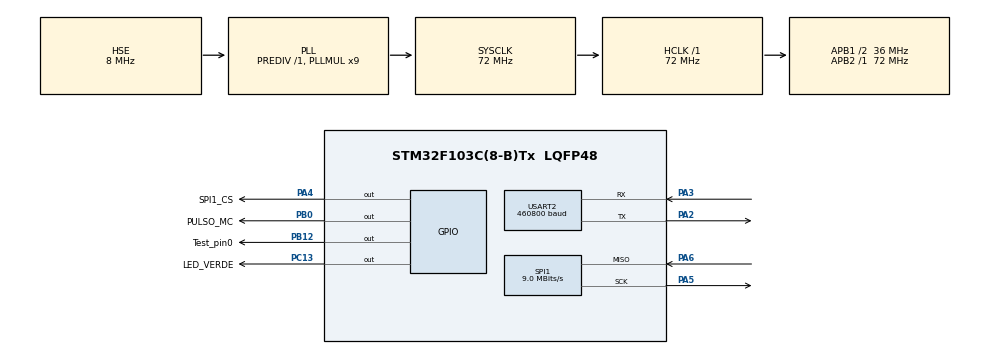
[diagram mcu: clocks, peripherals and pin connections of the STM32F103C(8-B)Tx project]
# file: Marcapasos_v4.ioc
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Dma.Request0=USART2_TX
Dma.USART2_TX.0.Direction=DMA_MEMORY_TO_PERIPH
Dma.USART2_TX.0.Instance=DMA1_Channel7
Dma.USART2_TX.0.MemDataAlignment=DMA_MDATAALIGN_BYTE
Dma.USART2_TX.0.MemInc=DMA_MINC_ENABLE
Dma.USART2_TX.0.Mode=DMA_NORMAL
Dma.USART2_TX.0.PeriphDataAlignment=DMA_PDATAALIGN_BYTE
Dma.USART2_TX.0.PeriphInc=DMA_PINC_DISABLE
Dma.USART2_TX.0.Priority=DMA_PRIORITY_HIGH
FREERTOS.Tasks01=LeerDAC,0,512,tarea1,Default,NULL,Dynamic,NULL,NULL
FREERTOS.configMAX_TASK_NAME_LEN=32
FREERTOS.configMINIMAL_STACK_SIZE=64
FREERTOS.configUSE_NEWLIB_REENTRANT=1
Mcu.Family=STM32F1
Mcu.Name=STM32F103C(8-B)Tx
Mcu.Package=LQFP48
NVIC.DMA1_Channel7_IRQn=true\:5\:0\:false\:false\:true\:true\:false\:true\:true
NVIC.PriorityGroup=NVIC_PRIORITYGROUP_4
NVIC.RCC_IRQn=true\:5\:0\:false\:false\:true\:true\:true\:false\:true
NVIC.SPI1_IRQn=true\:5\:0\:false\:false\:true\:true\:true\:true\:true
NVIC.TIM3_IRQn=true\:5\:0\:false\:false\:true\:true\:true\:true\:true
NVIC.TIM4_IRQn=true\:15\:0\:false\:false\:true\:false\:false\:true\:true
NVIC.TimeBase=TIM4_IRQn
NVIC.TimeBaseIP=TIM4
NVIC.USART2_IRQn=true\:5\:0\:false\:false\:true\:true\:true\:true\:true
PA13.Mode=Serial_Wire
PA13.Signal=SYS_JTMS-SWDIO
PA14.Mode=Serial_Wire
PA14.Signal=SYS_JTCK-SWCLK
PA2.Mode=Asynchronous
PA2.Signal=USART2_TX
PA3.Mode=Asynchronous
PA3.Signal=USART2_RX
PA4.GPIO_Label=SPI1_CS
PA4.GPIO_Speed=GPIO_SPEED_FREQ_HIGH
PA4.PinState=GPIO_PIN_SET
PA4.Signal=GPIO_Output
PA5.Mode=RX_Only_Simplex_Unidirect_Master
PA5.Signal=SPI1_SCK
PA6.Mode=RX_Only_Simplex_Unidirect_Master
PA6.Signal=SPI1_MISO
PB0.GPIO_Label=PULSO_MC
PB0.GPIO_PuPd=GPIO_PULLUP
PB0.GPIO_Speed=GPIO_SPEED_FREQ_HIGH
PB0.PinState=GPIO_PIN_SET
PB0.Signal=GPIO_Output
PB12.GPIO_Label=Test_pin0
PB12.Signal=GPIO_Output
PC13-TAMPER-RTC.GPIO_Label=LED_VERDE
PC13-TAMPER-RTC.Signal=GPIO_Output
PD0-OSC_IN.Mode=HSE-External-Oscillator
PD0-OSC_IN.Signal=RCC_OSC_IN
PD1-OSC_OUT.Mode=HSE-External-Oscillator
PD1-OSC_OUT.Signal=RCC_OSC_OUT
ProjectManager.HeapSize=0x200
ProjectManager.StackSize=0x400
ProjectManager.TargetToolchain=STM32CubeIDE
RCC.AHBFreq_Value=72000000
RCC.APB1CLKDivider=RCC_HCLK_DIV2
RCC.APB1Freq_Value=36000000
RCC.APB1TimFreq_Value=72000000
RCC.APB2Freq_Value=72000000
RCC.APB2TimFreq_Value=72000000
RCC.HCLKFreq_Value=72000000
RCC.PLLMUL=RCC_PLL_MUL9
RCC.PLLSourceVirtual=RCC_PLLSOURCE_HSE
RCC.SYSCLKFreq_VALUE=72000000
RCC.SYSCLKSource=RCC_SYSCLKSOURCE_PLLCLK
RCC.USBFreq_Value=48000000
RCC.USBPrescaler=RCC_USBCLKSOURCE_PLL_DIV1_5
SPI1.BaudRatePrescaler=SPI_BAUDRATEPRESCALER_8
SPI1.CLKPhase=SPI_PHASE_2EDGE
SPI1.CLKPolarity=SPI_POLARITY_LOW
SPI1.CalculateBaudRate=9.0 MBits/s
SPI1.DataSize=SPI_DATASIZE_16BIT
SPI1.Direction=SPI_DIRECTION_2LINES_RXONLY
SPI1.Mode=SPI_MODE_MASTER
SPI1.VirtualType=VM_MASTER
TIM3.AutoReloadPreload=TIM_AUTORELOAD_PRELOAD_DISABLE
TIM3.Period=125-1
TIM3.Prescaler=72-1
USART2.BaudRate=460800
USART2.Parity=PARITY_NONE
USART2.StopBits=STOPBITS_1
USART2.VirtualMode=VM_ASYNC
USART2.WordLength=WORDLENGTH_8B
VP_FREERTOS_VS_CMSIS_V1.Mode=CMSIS_V1
VP_SYS_VS_tim4.Mode=TIM4
VP_TIM3_VS_ClockSourceINT.Mode=Internal
board=custom

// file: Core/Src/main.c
/* USER CODE BEGIN Header */
/**
  ******************************************************************************
  * @file           : main.c
  * @brief          : Main program body
  ******************************************************************************
  * @attention
  *
  * Copyright (c) 2023 STMicroelectronics.
  * All rights reserved.
  *
  * This software is licensed under terms that can be found in the LICENSE file
  * in the root directory of this software component.
  * If no LICENSE file comes with this software, it is provided AS-IS.
  *
  ******************************************************************************
  */
/* USER CODE END Header */
#include "main.h"
#include "cmsis_os.h"
#include "dma.h"
#include "spi.h"
#include "tim.h"
#include "usart.h"
#include "gpio.h"

/* USER CODE BEGIN PV */
uint8_t flag_Muestreo 	= 0;
uint8_t flag_spi_ok		= 0;
/* USER CODE END PV */

void SystemClock_Config(void);
void MX_FREERTOS_Init(void);

int main(void)
{

  /* MCU Configuration--------------------------------------------------------*/

  /* Reset of all peripherals, Initializes the Flash interface and the Systick. */
  HAL_Init();

  /* Configure the system clock */
  SystemClock_Config();

  /* Initialize all configured peripherals */
  MX_GPIO_Init();
  MX_DMA_Init();
  MX_SPI1_Init();
  MX_TIM3_Init();
  MX_USART2_UART_Init();
  /* USER CODE BEGIN 2 */
  if (HAL_TIM_Base_Start_IT(&htim3) != HAL_OK)
      {
        Error_Handler();
      }
  /* USER CODE END 2 */

  /* Call init function for freertos objects (in freertos.c) */
  MX_FREERTOS_Init();

  /* Start scheduler */
  osKernelStart();

  /* We should never get here as control is now taken by the scheduler */
  /* Infinite loop */
  while (1)
  {

  }
}

void SystemClock_Config(void)
{
  RCC_OscInitTypeDef RCC_OscInitStruct = {0};
  RCC_ClkInitTypeDef RCC_ClkInitStruct = {0};

  /** Initializes the RCC Oscillators according to the specified parameters
  * in the RCC_OscInitTypeDef structure.
  */
  RCC_OscInitStruct.OscillatorType = RCC_OSCILLATORTYPE_HSE;
  RCC_OscInitStruct.HSEState = RCC_HSE_ON;
  RCC_OscInitStruct.HSEPredivValue = RCC_HSE_PREDIV_DIV1;
  RCC_OscInitStruct.HSIState = RCC_HSI_ON;
  RCC_OscInitStruct.PLL.PLLState = RCC_PLL_ON;
  RCC_OscInitStruct.PLL.PLLSource = RCC_PLLSOURCE_HSE;
  RCC_OscInitStruct.PLL.PLLMUL = RCC_PLL_MUL9;
  if (HAL_RCC_OscConfig(&RCC_OscInitStruct) != HAL_OK)
  {
    Error_Handler();
  }

  /** Initializes the CPU, AHB and APB buses clocks
  */
  RCC_ClkInitStruct.ClockType = RCC_CLOCKTYPE_HCLK|RCC_CLOCKTYPE_SYSCLK
                              |RCC_CLOCKTYPE_PCLK1|RCC_CLOCKTYPE_PCLK2;
  RCC_ClkInitStruct.SYSCLKSource = RCC_SYSCLKSOURCE_PLLCLK;
  RCC_ClkInitStruct.AHBCLKDivider = RCC_SYSCLK_DIV1;
  RCC_ClkInitStruct.APB1CLKDivider = RCC_HCLK_DIV2;
  RCC_ClkInitStruct.APB2CLKDivider = RCC_HCLK_DIV1;

  if (HAL_RCC_ClockConfig(&RCC_ClkInitStruct, FLASH_LATENCY_2) != HAL_OK)
  {
    Error_Handler();
  }
}

/* USER CODE BEGIN 4 */
void HAL_SPI_TxRxCpltCallback(SPI_HandleTypeDef *hspi)
{
  /* Prevent unused argument(s) compilation warning */
  flag_spi_ok = 1;
  HAL_GPIO_WritePin(SPI1_CS_GPIO_Port, SPI1_CS_Pin,GPIO_PIN_SET);
  /* NOTE : This function should not be modified, when the callback is needed,
            the HAL_SPI_TxRxCpltCallback should be implemented in the user file
   */
}
/* USER CODE END 4 */

void HAL_TIM_PeriodElapsedCallback(TIM_HandleTypeDef *htim)
{
  if (htim->Instance == TIM4) {
    HAL_IncTick();
  }
  /* USER CODE BEGIN Callback 1 */
	if (htim->Instance == TIM3)
	{
		flag_Muestreo = 1;
	}
  /* USER CODE END Callback 1 */
}

void Error_Handler(void)
{
  __disable_irq();
  while (1)
  {
  }
}

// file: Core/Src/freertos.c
/* USER CODE BEGIN Header */
/**
  ******************************************************************************
  * File Name          : freertos.c
  * Description        : Code for freertos applications
  ******************************************************************************
  * @attention
  *
  * Copyright (c) 2023 STMicroelectronics.
  * All rights reserved.
  *
  * This software is licensed under terms that can be found in the LICENSE file
  * in the root directory of this software component.
  * If no LICENSE file comes with this software, it is provided AS-IS.
  *
  ******************************************************************************
  */
/* USER CODE END Header */

#include "FreeRTOS.h"
#include "task.h"
#include "main.h"
#include "cmsis_os.h"

/* USER CODE BEGIN Includes */
#include <stdio.h>
#include <string.h>
#include <stdlib.h>
//#include "usbd_cdc_if.h"
//#include <arm_math.h>
#include <stdbool.h>
/* USER CODE END Includes */

/* USER CODE BEGIN Variables */
extern uint8_t flag_Muestreo;
extern SPI_HandleTypeDef hspi1;
extern UART_HandleTypeDef huart2;
int derv_norm_I=0;
int32_t aus_data=0;

#define M_PI 3.14159265358979323846
#define SAMPLE_RATE 441000
float cutoff = 4000.0;
float prevFiltered_II = 0.0;
int32_t filteredData_II=0;
//uint8_t dato_tx[10]={0};

uint8_t msgUSB[16]={0};
uint16_t msgUsb_cnt;

/* USER CODE END Variables */
osThreadId LeerDACHandle;

/* USER CODE BEGIN FunctionPrototypes */
int32_t DerivadaNormFuncion_I (int derivacion);
/* USER CODE END FunctionPrototypes */

void tarea1(void const * argument);

void MX_FREERTOS_Init(void); /* (MISRA C 2004 rule 8.1) */

/* GetIdleTaskMemory prototype (linked to static allocation support) */
void vApplicationGetIdleTaskMemory( StaticTask_t **ppxIdleTaskTCBBuffer, StackType_t **ppxIdleTaskStackBuffer, uint32_t *pulIdleTaskStackSize );

/* USER CODE BEGIN GET_IDLE_TASK_MEMORY */
static StaticTask_t xIdleTaskTCBBuffer;
static StackType_t xIdleStack[configMINIMAL_STACK_SIZE];

void vApplicationGetIdleTaskMemory( StaticTask_t **ppxIdleTaskTCBBuffer, StackType_t **ppxIdleTaskStackBuffer, uint32_t *pulIdleTaskStackSize )
{
  *ppxIdleTaskTCBBuffer = &xIdleTaskTCBBuffer;
  *ppxIdleTaskStackBuffer = &xIdleStack[0];
  *pulIdleTaskStackSize = configMINIMAL_STACK_SIZE;
  /* place for user code */
}
/* USER CODE END GET_IDLE_TASK_MEMORY */

void MX_FREERTOS_Init(void) {

  /* Create the thread(s) */
  /* definition and creation of LeerDAC */
  osThreadDef(LeerDAC, tarea1, osPriorityNormal, 0, 512);
  LeerDACHandle = osThreadCreate(osThread(LeerDAC), NULL);

}

/* USER CODE BEGIN Header_tarea1 */
/**
  * @brief  Function implementing the LeerDAC thread.
  * @param  argument: Not used
  * @retval None
  */
float filter(float cutofFreq);
/* USER CODE END Header_tarea1 */
void tarea1(void const * argument)
{
  /* USER CODE BEGIN tarea1 */
  /* Infinite loop */
//uint16_t i = 0;

//uint8_t msgUSB[16]={0};
//uint16_t msgUsb_cnt;
/*
uint16_t datoLeido;
uint16_t ads_delta;
uint16_t datoLeido_ant;
*/
int16_t datoLeido;
int16_t ads_delta;
int 	ads_array[100]={0};
int 	index_array=0;
int 	max_i_array =19;
int16_t datoLeido_ant;
//int16_t flagPACE;
//int flag_pacemaker 	= 0;
int cont_delta=0;
uint8_t flag_delta=0;
//Calibración de inicio del ADS7042, mínimo 16 ciclos de reloj, pongo32
HAL_GPIO_WritePin(SPI1_CS_GPIO_Port, SPI1_CS_Pin,GPIO_PIN_RESET);
HAL_SPI_Receive(&hspi1, (uint8_t*)&datoLeido, 1, 1);
HAL_SPI_Receive(&hspi1, (uint8_t*)&datoLeido, 1, 1);
osDelay(1);
HAL_GPIO_WritePin(SPI1_CS_GPIO_Port, SPI1_CS_Pin,GPIO_PIN_SET);

  for(;;)
  {

	  //HAL_GPIO_TogglePin(LED_VERDE_GPIO_Port, LED_VERDE_Pin);
	  //osDelay(500);
	  //Calibración de inicio del ADS7042, mínimo 16 ciclos de reloj, pongo32
//	  HAL_GPIO_WritePin(SPI1_CS_GPIO_Port, SPI1_CS_Pin,GPIO_PIN_RESET);
//	  HAL_SPI_Receive(&hspi1, (uint8_t*)&datoLeido, 1, 1);
//	  HAL_SPI_Receive(&hspi1, (uint8_t*)&datoLeido, 1, 1);
//	  osDelay(1);
//	  HAL_GPIO_WritePin(SPI1_CS_GPIO_Port, SPI1_CS_Pin,GPIO_PIN_SET);

	  if(flag_Muestreo)
	  {
		  //Test Bandera cada 5ms
		  //Enviar valor por USB
		  flag_Muestreo = 0; //borrar bandera
		  HAL_GPIO_TogglePin(LED_VERDE_GPIO_Port, LED_VERDE_Pin);

		  HAL_GPIO_WritePin(SPI1_CS_GPIO_Port, SPI1_CS_Pin,GPIO_PIN_RESET);
		  HAL_SPI_Receive(&hspi1, (uint8_t*)&datoLeido, 1,0);
		  //HAL_SPI_Receive(&hspi1, (uint8_t*)&datoLeido, 1, 0);
		  HAL_GPIO_WritePin(SPI1_CS_GPIO_Port, SPI1_CS_Pin,GPIO_PIN_SET);

		  float filtered_II = prevFiltered_II + (filter(cutoff) * ((float)datoLeido - prevFiltered_II));

		  filteredData_II= (int32_t)filtered_II;
		  prevFiltered_II = filtered_II;
		  //aus_data = filteredData_norm_II;

		  derv_norm_I=abs(DerivadaNormFuncion_I(datoLeido));

		  index_array++;
		  if (index_array>max_i_array)
		  {
			  index_array = 0;
			  //HAL_GPIO_TogglePin(Test_pin0_GPIO_Port, Test_pin0_Pin);
		  }
		  ads_array[index_array]=datoLeido;
		  if(index_array<max_i_array)
		  {
			  ads_delta=abs((ads_array[index_array+1]-datoLeido)/10);
		  }
		  else
		  {
			  ads_delta=abs((ads_array[0]-datoLeido)/10);
		  }
		  //ads_delta=(datoLeido-datoLeido_ant)/10;
		  datoLeido_ant=datoLeido;
		  /*if(ads_delta>250)
		  {
			  HAL_GPIO_WritePin(Test_pin0_GPIO_Port, Test_pin0_Pin, GPIO_PIN_SET);
			  HAL_GPIO_WritePin(PULSO_MC_GPIO_Port, PULSO_MC_Pin, GPIO_PIN_SET);
			  msgUsb_cnt = sprintf((char*) msgUSB,"%i,%i,%i,1\r\n",datoLeido, derv_norm_I,ads_delta);
			  //msgUsb_cnt = sprintf((char*) msgUSB,"%i\r",datoLeido);
			  //msgUsb_cnt = sprintf((char*) msgUSB,"%i\r",derv_norm_I);
			  //HAL_UART_Transmit_DMA(&huart2, msgUSB, msgUsb_cnt);
		  }
		  else
		  {
			  HAL_GPIO_WritePin(Test_pin0_GPIO_Port, Test_pin0_Pin, GPIO_PIN_RESET);
			  HAL_GPIO_WritePin(PULSO_MC_GPIO_Port, PULSO_MC_Pin, GPIO_PIN_RESET);
			  msgUsb_cnt = sprintf((char*) msgUSB,"%i,%i,%i,0\r\n",datoLeido, derv_norm_I,ads_delta);
			  //msgUsb_cnt = sprintf((char*) msgUSB,"%i\r",datoLeido);
			  //msgUsb_cnt = sprintf((char*) msgUSB,"%i\r",derv_norm_I);
			  //HAL_UART_Transmit_DMA(&huart2, msgUSB, msgUsb_cnt);
		  }*/
		  /*
		  msgUsb_cnt = sprintf((char*) msgUSB,"%i,%i,1\r\n",datoLeido,ads_delta);

		  HAL_UART_Transmit_DMA(&huart2, msgUSB, msgUsb_cnt);
*/
		 // HAL_UART_Transmit_DMA(&huart2, dato_tx, 6);

		  //if (ads_delta>50) //se confunde dentro de pulsos
		  //if (datoLeido>4550) // se confunde por amplitud
		  if (ads_delta>250)
		  {
			  //HAL_GPIO_TogglePin(PULSO_MC_GPIO_Port, PULSO_MC_Pin);
			  flag_delta++;
		  }
		  else
		  {
			  flag_delta=0;
		  }

		  if (flag_delta>6)
		  {
			  //flag_delta=1;
			  cont_delta=55;
			  HAL_GPIO_WritePin(Test_pin0_GPIO_Port, Test_pin0_Pin, GPIO_PIN_SET);
			  HAL_GPIO_WritePin(PULSO_MC_GPIO_Port, PULSO_MC_Pin, GPIO_PIN_SET);
			  //HAL_GPIO_TogglePin(PULSO_MC_GPIO_Port, PULSO_MC_Pin);
			  //HAL_GPIO_TogglePin(Test_pin0_GPIO_Port, Test_pin0_Pin);
		  }
		  else
		  //else if (cont_delta>32)
		  {
			  cont_delta=0;
			  HAL_GPIO_WritePin(Test_pin0_GPIO_Port, Test_pin0_Pin, GPIO_PIN_RESET);
			  HAL_GPIO_WritePin(PULSO_MC_GPIO_Port, PULSO_MC_Pin, GPIO_PIN_RESET);
		  }

		  msgUsb_cnt = sprintf((char*) msgUSB,"%i,%i,%i\r\n",datoLeido,flag_delta,cont_delta);

		  HAL_UART_Transmit_DMA(&huart2, msgUSB, msgUsb_cnt);

		  //Comprobar valor umbral y disparar bandera en caso necesario
	  }

    //osDelay(1);
  }
  /* USER CODE END tarea1 */
}

/* USER CODE BEGIN Application */
int32_t DerivadaNormFuncion_I (int derivacion)
{
	/*
    int y, i;
    static int fx_derv[4];
    y = (derivacion << 1) + fx_derv[3] - fx_derv[1] - (fx_derv[0] << 1);
    y >>= 3;
    for (i = 0; i < 3; i++)
        fx_derv[i] = fx_derv[i + 1];
    fx_derv[3] = derivacion;

    return(y);
    */
	int y, i;
	static int fx_derv[4];
	y = (derivacion << 1) + fx_derv[3] - fx_derv[1] - (fx_derv[0] << 1);
	y >>= 3;
	for (i = 0; i < 3; i++)
		fx_derv[i] = fx_derv[i + 1];
	fx_derv[3] = derivacion;

	return(y);

}
float filter(float cutofFreq)
{
    float RC = 1.0 / (cutofFreq * 2 * M_PI);
    float dt = 1.0 / SAMPLE_RATE;
    float alpha = dt / (RC + dt);
    return alpha;
}
/* USER CODE END Application */
